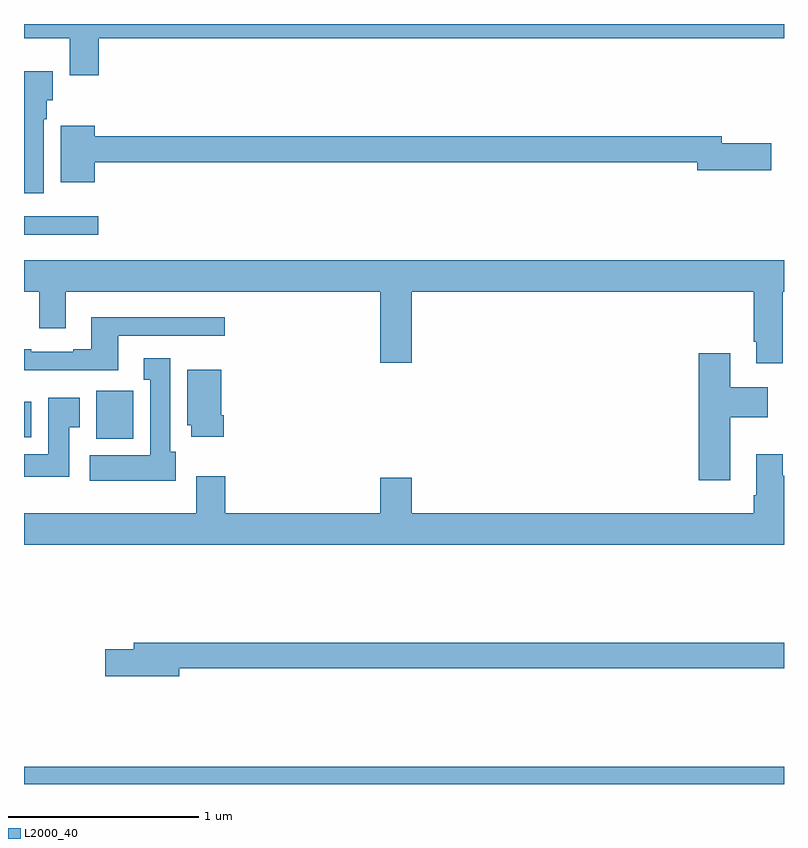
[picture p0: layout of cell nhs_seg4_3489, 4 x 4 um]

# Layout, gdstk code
import gdstk
lib = gdstk.Library(unit=1e-6, precision=1e-09)
def R(c, l, rs):  # rectangles x0, y0, x1, y1
    for r in rs: c.add(gdstk.rectangle(r[:2], r[2:], *l))
def P(c, l, *ps):  # polygons
    for p in ps: c.add(gdstk.Polygon(p, *l))
L2000_40 = (2000, 40)

nhs_seg4_3489 = lib.new_cell('nhs_seg4_3489')
R(nhs_seg4_3489, L2000_40, [(295,788.9,299,788.992), (295.379,790.718,295.575,790.969), (295,790.724,295.039,790.912), (295,791.792,295.39,791.889)])
P(nhs_seg4_3489, L2000_40, [(295.394,792.824),(299,792.824),(299,792.9),(295,792.9),(295,792.824),(295.241,792.824),(295.241,792.63),(295.394,792.63)],
  [(295.105,792.398),(295.12,792.398),(295.12,792.498),(295.15,792.498),(295.15,792.652),(295,792.652),(295,792.009),(295.105,792.009)],
  [(295.372,792.172),(298.544,792.172),(298.544,792.13),(298.933,792.13),(298.933,792.272),(298.672,792.272),(298.672,792.308),(295.372,792.308),(295.372,792.364),(295.193,792.364),(295.193,792.068),(295.372,792.068)],
  [(298.993,791.492),(299,791.492),(299,791.656),(295,791.656),(295,791.492),(295.079,791.492),(295.079,791.298),(295.219,791.298),(295.219,791.492),(296.876,791.492),(296.876,791.118),(297.04,791.118),(297.04,791.492),(298.841,791.492),(298.841,791.227),(298.853,791.227),(298.853,791.115),(298.993,791.115)],
  [(295.495,791.259),(296.056,791.259),(296.056,791.356),(295.355,791.356),(295.355,791.188),(295.259,791.188),(295.259,791.175),(295.039,791.175),(295.039,791.188),(295,791.188),(295,791.078),(295.495,791.078)],
  [(298.717,790.829),(298.915,790.829),(298.915,790.987),(298.717,790.987),(298.717,791.167),(298.55,791.167),(298.55,790.5),(298.717,790.5)],
  [(295.798,790.65),(295.771,790.65),(295.771,791.14),(295.631,791.14),(295.631,791.027),(295.664,791.027),(295.664,790.63),(295.347,790.63),(295.347,790.496),(295.798,790.496)],
  [(296.051,790.84),(296.038,790.84),(296.038,791.08),(295.859,791.08),(295.859,790.788),(295.88,790.788),(295.88,790.728),(296.051,790.728)],
  [(295.237,790.777),(295.294,790.777),(295.294,790.933),(295.127,790.933),(295.127,790.636),(295,790.636),(295,790.518),(295.237,790.518)],
  [(296.876,790.513),(296.876,790.324),(296.06,790.324),(296.06,790.519),(295.907,790.519),(295.907,790.324),(295,790.324),(295,790.16),(299,790.16),(299,790.523),(298.993,790.523),(298.993,790.636),(298.853,790.636),(298.853,790.42),(298.841,790.42),(298.841,790.324),(297.04,790.324),(297.04,790.513)],
  [(295.816,789.508),(299,789.508),(299,789.644),(295.577,789.644),(295.577,789.608),(295.428,789.608),(295.428,789.466),(295.816,789.466)])

lib.write_gds('nhs_seg4_3489.gds')
